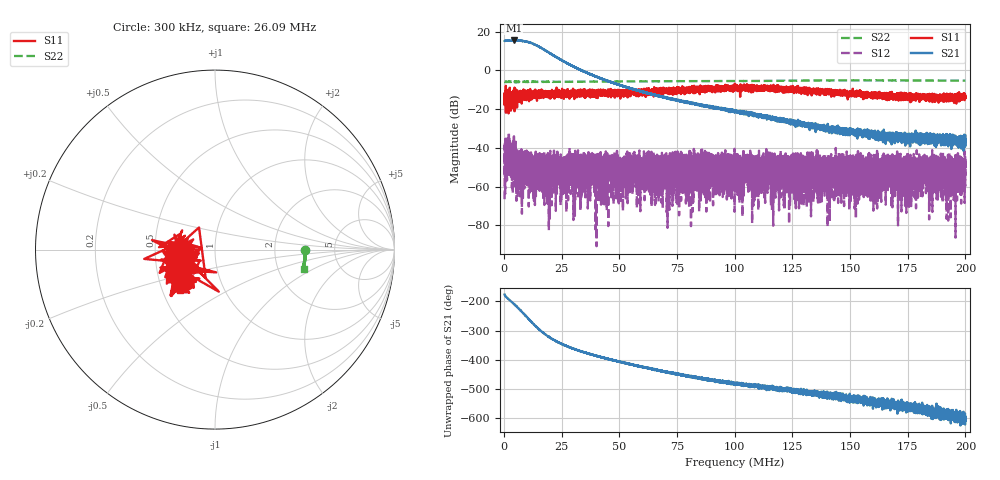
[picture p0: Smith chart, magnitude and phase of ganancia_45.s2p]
# Hz S DB R 50
! CMT, M5065, 19127446, 24.2.4/2
! Date: 11/8/2024 3:16:14 PM
! Data: Format (Calibration Info)
! Freq	S11:dB/Ang(F2)	S21:dB/Ang(F2)	S12:dB/Ang(F2)	S22:dB/Ang(F2)
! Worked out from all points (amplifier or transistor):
!   9000 points, 300 kHz to 200 MHz, reference 50 ohm
!   highest |S21| = 15.4 dB at 4.272 MHz (marker M1)
!   |S21| within 3 dB of that: start of sweep to 14.86 MHz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
!   unconditionally stable (mu >= 1): start of sweep to end of sweep
!   at 33.59 MHz: K = 93.20, MAG = 1.5 dB, |S12| = -48.5 dB
!   at 100.2 MHz: K = 1091.94, MAG = -18.7 dB, |S12| = -50.1 dB
!   at 200 MHz: K = 4124.67, MAG = -32.1 dB, |S12| = -47.9 dB
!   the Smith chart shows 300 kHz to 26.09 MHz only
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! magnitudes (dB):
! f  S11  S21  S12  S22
! 300 kHz  -12.9  15.2  -66.5  -6.0
! 1.343 MHz  -13.2  15.2  -43.2  -6.0
! 4.272 MHz  -15.6  15.4  -42.3  -6.0
! 7.756 MHz  -12.6  15.2  -57.0  -6.0
! 9.709 MHz  -12.8  14.8  -58.7  -6.0
! 11.73 MHz  -13.1  14.1  -42.4  -6.0
! 33.59 MHz  -12.5  0.0  -48.5  -5.9
! 47.63 MHz  -10.9  -6.6  -49.5  -5.8
! 50.72 MHz  -11.4  -7.7  -56.4  -5.8
! 57.09 MHz  -11.1  -10.1  -53.4  -5.7
! 58.13 MHz  -11.0  -10.4  -55.0  -5.7
! 66.87 MHz  -10.4  -13.3  -46.7  -5.6
! 100.2 MHz  -9.3  -20.6  -50.1  -5.6
! 133.4 MHz  -10.0  -29.7  -52.4  -5.3
! 166.7 MHz  -13.2  -34.0  -54.5  -5.2
! 171.7 MHz  -13.4  -34.5  -64.5  -5.2
! 181 MHz  -12.8  -32.6  -65.0  -5.3
! 184.4 MHz  -13.9  -34.8  -60.3  -5.3
! 186.4 MHz  -15.3  -33.4  -43.7  -5.3
! 190.4 MHz  -16.2  -35.7  -58.9  -5.3
! 198.8 MHz  -12.4  -36.5  -50.2  -5.3
! 200 MHz  -14.2  -33.7  -47.9  -5.4
